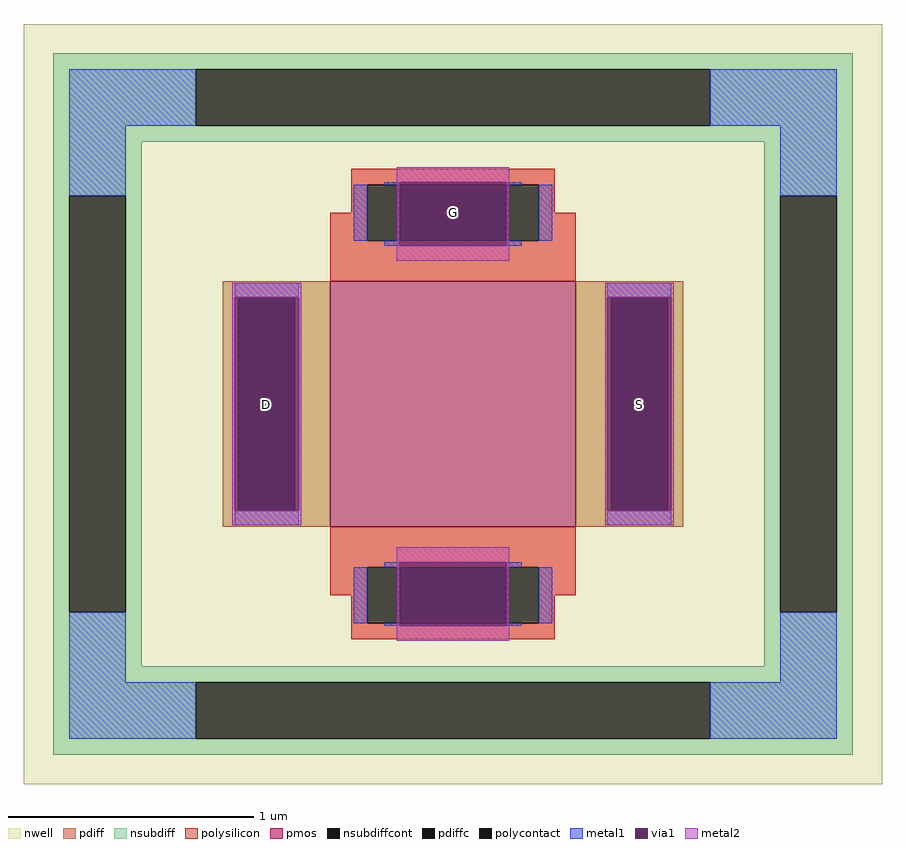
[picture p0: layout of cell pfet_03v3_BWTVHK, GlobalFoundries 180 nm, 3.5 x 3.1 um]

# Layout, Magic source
magic
tech gf180mcuD
magscale 1 10
<< nwell >>
rect -350 -310 350 310
<< pmos >>
rect -100 -100 100 100
<< pdiff >>
rect -188 87 -100 100
rect -188 -87 -175 87
rect -129 -87 -100 87
rect -188 -100 -100 -87
rect 100 87 188 100
rect 100 -87 129 87
rect 175 -87 188 87
rect 100 -100 188 -87
<< pdiffc >>
rect -175 -87 -129 87
rect 129 -87 175 87
<< nsubdiff >>
rect -326 273 326 286
rect -326 227 -210 273
rect 210 227 326 273
rect -326 214 326 227
rect -326 170 -254 214
rect -326 -170 -313 170
rect -267 -170 -254 170
rect 254 170 326 214
rect -326 -214 -254 -170
rect 254 -170 267 170
rect 313 -170 326 170
rect 254 -214 326 -170
rect -326 -227 326 -214
rect -326 -273 -210 -227
rect 210 -273 326 -227
rect -326 -286 326 -273
<< nsubdiffcont >>
rect -210 227 210 273
rect -313 -170 -267 170
rect 267 -170 313 170
rect -210 -273 210 -227
<< polysilicon >>
rect -83 179 83 192
rect -83 156 -70 179
rect -100 133 -70 156
rect 70 156 83 179
rect 70 133 100 156
rect -100 100 100 133
rect -100 -133 100 -100
rect -100 -156 -70 -133
rect -83 -179 -70 -156
rect 70 -156 100 -133
rect 70 -179 83 -156
rect -83 -192 83 -179
<< polycontact >>
rect -70 133 70 179
rect -70 -179 70 -133
<< metal1 >>
rect -313 227 -210 273
rect 210 227 313 273
rect -313 170 -267 227
rect -56 179 -44 181
rect 44 179 56 181
rect -81 133 -70 179
rect 70 133 81 179
rect 267 170 313 227
rect -56 129 -44 133
rect 44 129 56 133
rect -178 87 -126 99
rect -178 -99 -126 -87
rect 126 87 178 99
rect 126 -99 178 -87
rect -56 -133 -44 -129
rect 44 -133 56 -129
rect -313 -227 -267 -170
rect -81 -179 -70 -133
rect 70 -179 81 -133
rect -56 -181 -44 -179
rect 44 -181 56 -179
rect 267 -227 313 -170
rect -313 -273 -210 -227
rect 210 -273 313 -227
<< via1 >>
rect -44 179 44 181
rect -44 133 44 179
rect -44 129 44 133
rect -178 -87 -175 87
rect -175 -87 -129 87
rect -129 -87 -126 87
rect 126 -87 129 87
rect 129 -87 175 87
rect 175 -87 178 87
rect -44 -133 44 -129
rect -44 -179 44 -133
rect -44 -181 44 -179
<< metal2 >>
rect -46 181 46 193
rect -46 129 -44 181
rect 44 129 46 181
rect -46 117 46 129
rect -180 87 -124 99
rect -180 -87 -178 87
rect -126 -87 -124 87
rect -180 -99 -124 -87
rect 124 87 180 99
rect 124 -87 126 87
rect 178 -87 180 87
rect 124 -99 180 -87
rect -46 -129 46 -117
rect -46 -181 -44 -129
rect 44 -181 46 -129
rect -46 -193 46 -181
<< labels >>
rlabel pdiffc -152 0 -152 0 0 D
port 1 nsew
rlabel pdiffc 152 0 152 0 0 S
port 2 nsew
rlabel polycontact 0 156 0 156 0 G
port 3 nsew
<< properties >>
string FIXED_BBOX -290 -250 290 250
string gencell pfet_03v3
string library gf180mcu
string parameters w 1.0 l 1.0 m 1 nf 1 diffcov 100 polycov 80 guard 1 glc 1 grc 1 gtc 1 gbc 1 tbcov 100 rlcov 100 topc 1 botc 1 poverlap 0 doverlap 1 lmin 0.28 wmin 0.22 class mosfet full_metal 1 viasrc 100 viadrn 100 viagate 50 viagb 0 viagr 0 viagl 0 viagt 0 doports 1 compatible {pfet_03v3 pfet_05v0 pfet_06v0}
<< end >>
